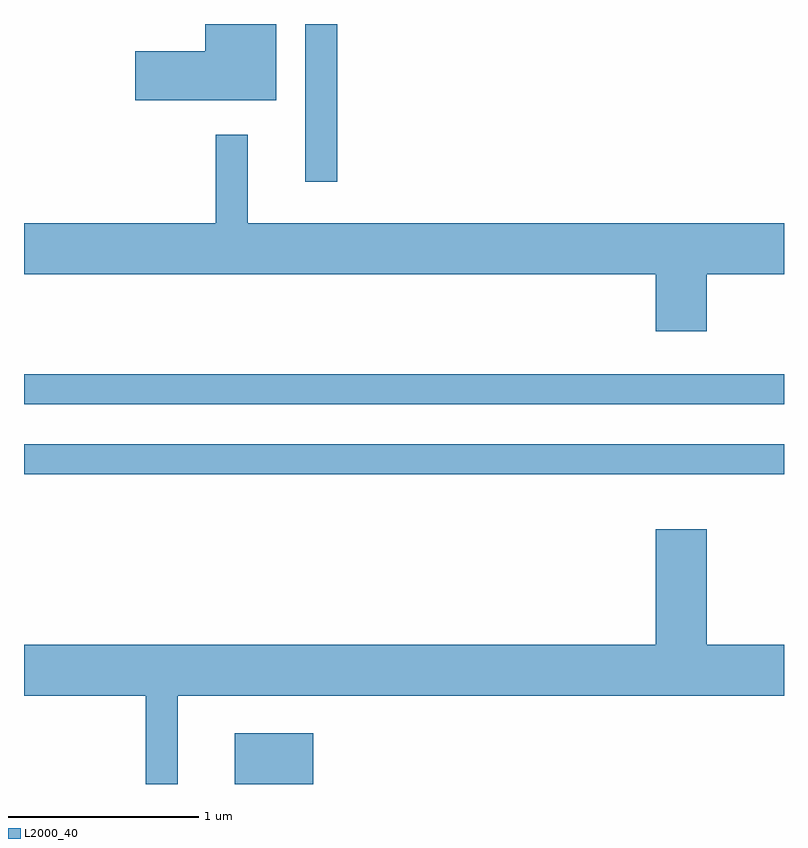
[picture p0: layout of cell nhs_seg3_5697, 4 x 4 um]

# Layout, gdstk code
import gdstk
lib = gdstk.Library(unit=1e-6, precision=1e-09)
def R(c, l, rs):  # rectangles x0, y0, x1, y1
    for r in rs: c.add(gdstk.rectangle(r[:2], r[2:], *l))
def P(c, l, *ps):  # polygons
    for p in ps: c.add(gdstk.Polygon(p, *l))
L2000_40 = (2000, 40)

nhs_seg3_5697 = lib.new_cell('nhs_seg3_5697')
R(nhs_seg3_5697, L2000_40, [(352.721,1229.892,353.134,1230.159), (351.611,1231.521,355.611,1231.679), (351.611,1231.891,355.611,1232.049), (353.091,1233.063,353.259,1233.892)])
P(nhs_seg3_5697, L2000_40, [(352.939,1233.892),(352.566,1233.892),(352.566,1233.749),(352.196,1233.749),(352.196,1233.491),(352.939,1233.491)],
  [(355.204,1232.576),(355.611,1232.576),(355.611,1232.844),(352.789,1232.844),(352.789,1233.308),(352.621,1233.308),(352.621,1232.844),(351.611,1232.844),(351.611,1232.576),(354.936,1232.576),(354.936,1232.276),(355.204,1232.276)],
  [(352.419,1230.356),(355.611,1230.356),(355.611,1230.624),(355.204,1230.624),(355.204,1231.234),(354.936,1231.234),(354.936,1230.624),(351.611,1230.624),(351.611,1230.356),(352.251,1230.356),(352.251,1229.892),(352.419,1229.892)])

lib.write_gds('nhs_seg3_5697.gds')
